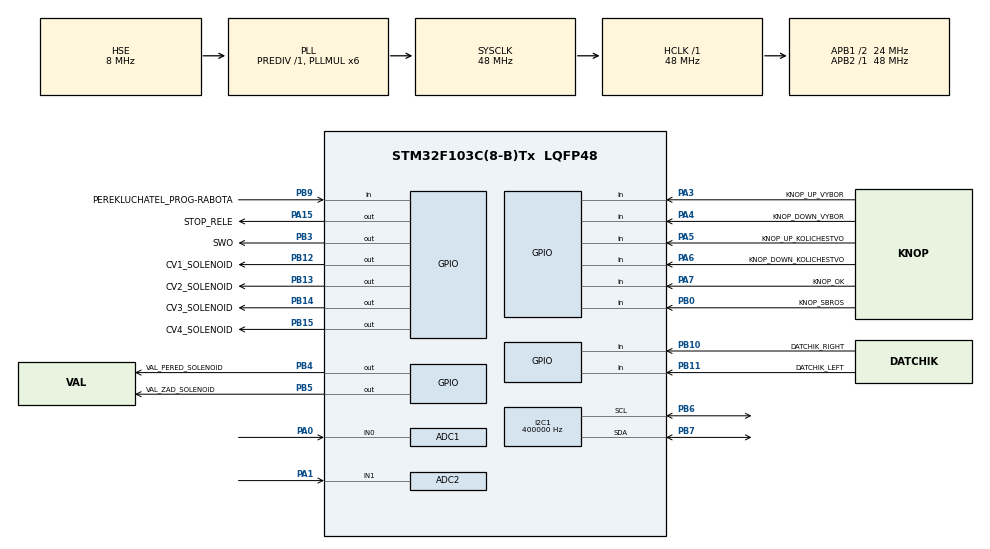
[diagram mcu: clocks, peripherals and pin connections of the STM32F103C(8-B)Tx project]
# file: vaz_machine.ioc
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ADC1.Channel-17\#ChannelRegularConversion=ADC_CHANNEL_0
ADC1.NbrOfConversionFlag=1
ADC1.Rank-17\#ChannelRegularConversion=1
ADC1.SamplingTime-17\#ChannelRegularConversion=ADC_SAMPLETIME_1CYCLE_5
ADC1.master=1
ADC2.Channel-0\#ChannelRegularConversion=ADC_CHANNEL_1
ADC2.ContinuousConvMode=DISABLE
ADC2.DataAlign=ADC_DATAALIGN_RIGHT
ADC2.DiscontinuousConvMode=DISABLE
ADC2.EnableAnalogWatchDog=false
ADC2.EnableRegularConversion=ENABLE
ADC2.ExternalTrigConvEdgeChoice=NONE
ADC2.InjNumberOfConversion=0
ADC2.NbrOfConversion=1
ADC2.NbrOfConversionFlag=1
ADC2.Rank-0\#ChannelRegularConversion=1
ADC2.SamplingTime-0\#ChannelRegularConversion=ADC_SAMPLETIME_1CYCLE_5
ADC2.ScanConvMode=ADC_SCAN_DISABLE
Dma.I2C1_TX.0.Direction=DMA_MEMORY_TO_PERIPH
Dma.I2C1_TX.0.Instance=DMA1_Channel6
Dma.I2C1_TX.0.MemDataAlignment=DMA_MDATAALIGN_BYTE
Dma.I2C1_TX.0.MemInc=DMA_MINC_ENABLE
Dma.I2C1_TX.0.Mode=DMA_NORMAL
Dma.I2C1_TX.0.PeriphDataAlignment=DMA_PDATAALIGN_BYTE
Dma.I2C1_TX.0.PeriphInc=DMA_PINC_DISABLE
Dma.I2C1_TX.0.Priority=DMA_PRIORITY_HIGH
Dma.Request0=I2C1_TX
I2C1.ClockSpeed=400000
I2C1.DutyCycle=I2C_DUTYCYCLE_16_9
I2C1.I2C_Mode=I2C_Fast
I2C1.OwnAddress=0x78
Mcu.Family=STM32F1
Mcu.Name=STM32F103C(8-B)Tx
Mcu.Package=LQFP48
NVIC.DMA1_Channel6_IRQn=true\:0\:0\:false\:false\:true
NVIC.PriorityGroup=NVIC_PRIORITYGROUP_4
PA0-WKUP.Signal=ADCx_IN0
PA1.Signal=ADCx_IN1
PA13.Mode=Serial_Wire
PA13.Signal=SYS_JTMS-SWDIO
PA14.Mode=Serial_Wire
PA14.Signal=SYS_JTCK-SWCLK
PA15.GPIO_Label=STOP_RELE
PA15.Signal=GPIO_Output
PA3.GPIO_Label=KNOP_UP_VYBOR
PA3.GPIO_PuPd=GPIO_PULLDOWN
PA3.Signal=GPIO_Input
PA4.GPIO_Label=KNOP_DOWN_VYBOR
PA4.GPIO_PuPd=GPIO_PULLDOWN
PA4.Signal=GPIO_Input
PA5.GPIO_Label=KNOP_UP_KOLICHESTVO
PA5.GPIO_PuPd=GPIO_PULLDOWN
PA5.Signal=GPIO_Input
PA6.GPIO_Label=KNOP_DOWN_KOLICHESTVO
PA6.GPIO_PuPd=GPIO_PULLDOWN
PA6.Signal=GPIO_Input
PA7.GPIO_Label=KNOP_OK
PA7.GPIO_PuPd=GPIO_PULLDOWN
PA7.Signal=GPIO_Input
PB0.GPIO_Label=KNOP_SBROS
PB0.GPIO_PuPd=GPIO_PULLUP
PB0.Signal=GPIO_Input
PB10.GPIO_Label=DATCHIK_RIGHT
PB10.GPIO_PuPd=GPIO_PULLUP
PB10.Signal=GPIO_Input
PB11.GPIO_Label=DATCHIK_LEFT
PB11.GPIO_PuPd=GPIO_PULLUP
PB11.Signal=GPIO_Input
PB12.GPIO_Label=CV1_SOLENOID
PB12.Signal=GPIO_Output
PB13.GPIO_Label=CV2_SOLENOID
PB13.Signal=GPIO_Output
PB14.GPIO_Label=CV3_SOLENOID
PB14.Signal=GPIO_Output
PB15.GPIO_Label=CV4_SOLENOID
PB15.Signal=GPIO_Output
PB3.GPIO_Label=SWO
PB3.Signal=GPIO_Output
PB4.GPIO_Label=VAL_PERED_SOLENOID
PB4.Signal=GPIO_Output
PB5.GPIO_Label=VAL_ZAD_SOLENOID
PB5.Signal=GPIO_Output
PB6.Mode=I2C
PB6.Signal=I2C1_SCL
PB7.Mode=I2C
PB7.Signal=I2C1_SDA
PB9.GPIO_Label=PEREKLUCHATEL_PROG-RABOTA
PB9.GPIO_PuPd=GPIO_PULLUP
PB9.Signal=GPIO_Input
PC14-OSC32_IN.Mode=LSE-External-Oscillator
PC14-OSC32_IN.Signal=RCC_OSC32_IN
PC15-OSC32_OUT.Mode=LSE-External-Oscillator
PC15-OSC32_OUT.Signal=RCC_OSC32_OUT
PD0-OSC_IN.Mode=HSE-External-Oscillator
PD0-OSC_IN.Signal=RCC_OSC_IN
PD1-OSC_OUT.Mode=HSE-External-Oscillator
PD1-OSC_OUT.Signal=RCC_OSC_OUT
ProjectManager.HeapSize=0x200
ProjectManager.StackSize=0x400
ProjectManager.TargetToolchain=MDK-ARM V5
RCC.ADCPresc=RCC_ADCPCLK2_DIV4
RCC.AHBFreq_Value=48000000
RCC.APB1CLKDivider=RCC_HCLK_DIV2
RCC.APB1Freq_Value=24000000
RCC.APB1TimFreq_Value=48000000
RCC.APB2Freq_Value=48000000
RCC.APB2TimFreq_Value=48000000
RCC.HCLKFreq_Value=48000000
RCC.HSIState=RCC_HSI_ON
RCC.PLLMUL=RCC_PLL_MUL6
RCC.PLLSourceVirtual=RCC_PLLSOURCE_HSE
RCC.SYSCLKFreq_VALUE=48000000
RCC.SYSCLKSource=RCC_SYSCLKSOURCE_PLLCLK
RCC.USBFreq_Value=48000000
SH.ADCx_IN0.0=ADC1_IN0,IN0
SH.ADCx_IN1.0=ADC2_IN1,IN1
board=vaz_machine

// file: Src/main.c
/**
  ******************************************************************************
  * File Name          : main.c
  * Description        : Main program body
  ******************************************************************************
  *
  * COPYRIGHT(c) 2016 STMicroelectronics
  *
  * Redistribution and use in source and binary forms, with or without modification,
  * are permitted provided that the following conditions are met:
  *   1. Redistributions of source code must retain the above copyright notice,
  *      this list of conditions and the following disclaimer.
  *   2. Redistributions in binary form must reproduce the above copyright notice,
  *      this list of conditions and the following disclaimer in the documentation
  *      and/or other materials provided with the distribution.
  *   3. Neither the name of STMicroelectronics nor the names of its contributors
  *      may be used to endorse or promote products derived from this software
  *      without specific prior written permission.
  *
  * THIS SOFTWARE IS PROVIDED BY THE COPYRIGHT HOLDERS AND CONTRIBUTORS "AS IS"
  * AND ANY EXPRESS OR IMPLIED WARRANTIES, INCLUDING, BUT NOT LIMITED TO, THE
  * IMPLIED WARRANTIES OF MERCHANTABILITY AND FITNESS FOR A PARTICULAR PURPOSE ARE
  * DISCLAIMED. IN NO EVENT SHALL THE COPYRIGHT HOLDER OR CONTRIBUTORS BE LIABLE
  * FOR ANY DIRECT, INDIRECT, INCIDENTAL, SPECIAL, EXEMPLARY, OR CONSEQUENTIAL
  * DAMAGES (INCLUDING, BUT NOT LIMITED TO, PROCUREMENT OF SUBSTITUTE GOODS OR
  * SERVICES; LOSS OF USE, DATA, OR PROFITS; OR BUSINESS INTERRUPTION) HOWEVER
  * CAUSED AND ON ANY THEORY OF LIABILITY, WHETHER IN CONTRACT, STRICT LIABILITY,
  * OR TORT (INCLUDING NEGLIGENCE OR OTHERWISE) ARISING IN ANY WAY OUT OF THE USE
  * OF THIS SOFTWARE, EVEN IF ADVISED OF THE POSSIBILITY OF SUCH DAMAGE.
  *
  ******************************************************************************
  */
#include "stm32f1xx_hal.h"
#include "adc.h"
#include "dma.h"
#include "i2c.h"
#include "gpio.h"

/* USER CODE BEGIN Includes */
//#include "ssd1306.h"
//#include "fonts.h"
#include "fsm.h"
/* USER CODE END Includes */

/* USER CODE BEGIN PV */
/* Private variables ---------------------------------------------------------*/
extern	SSD1306_t SSD1306;
volatile	uint32_t	key_scan,key_scan_1,key_scan_2,key_counter,key_fast=2000, key_delay = 300, key_press=0;

/* USER CODE END PV */

void SystemClock_Config(void);
void Error_Handler(void);

/* USER CODE BEGIN PFP */
/* Private function prototypes -----------------------------------------------*/

void HAL_SYSTICK_Callback(void)
{
//	key_counter++;
HAL_GPIO_TogglePin(GPIOB, GPIO_PIN_5);
	key_scan_1 = (GPIOA->IDR & 0xF8);
	key_scan_2 = (key_scan_1 >> 3);

	if (key_scan_2 == 0)
	{
		key_delay = 300;
		key_counter = 0;
		key_press = 0;
	}

	if((key_scan_2 != 0) && (key_scan == 0))
	{
		key_counter++;
		key_press++;
		if((key_counter >= key_delay) && (key_press < key_fast))
		{
			key_scan = key_scan_2;
			key_counter = 0;
		}
		if(key_press > key_fast)
		{
			key_delay = 50;
			key_scan = key_scan_2;
			key_counter = 0;
			key_press = 0;
		}
	}
	else
	{
		key_counter = 0;
	}
}
/* USER CODE END PFP */

/* USER CODE BEGIN 0 */

//мои переменные
int elem_prog=1; // выбор элемента для программирования (всего 8 элементов от 1 до 8)
int kol_elem_prog=0; // показатель конкретного элемента для програмирования
int oborot = 0; // переменная, которая считает количесво оборотов
int next_oborot=1;//переменная которая определяем номер следующего оборота
int a_i=0; //- переменная счетчик для проверки записанного элемента массива
int mega = 0;// переменная, которая считает количество мегациклов(один мегацикл - это полностью программа), ведется обратный отсчет, при 0 вызывается функция стоп
int prev_side = 0; // переменная, которая указывает датчик какой стороны сработал прошлый раз, нужна для того, чтобы избежать ошибок при срабатывании дважды подряд датчика с одной стороны
uint16_t prog_oborot = 123;//переменная для программирования количества оборотов в мегацикле
uint16_t cv_1[20]={1,2,3,4,5,6,0,0,0,0,0,0,0,0,0,0,0,0,0,0};//массив включений первого цвета
uint16_t cv_2[20]={2,0,0,0,0,0,0,0,0,0,0,0,0,0,0,0,0,0,0,0};//массив включений второго цвета
uint16_t cv_3[20]={3,0,0,0,0,0,0,0,0,0,0,0,0,0,0,0,0,0,0,0};//массив включений третьего цвета
uint16_t cv_4[20]={4,0,0,0,0,0,0,0,0,0,0,0,0,0,0,0,0,0,0,0};//массив включений четвертого цвета
uint16_t pered_val[20]={5,0,0,0,0,0,0,0,0,0,0,0,0,0,0,0,0,0,0,0};//массив включений переднего валика
uint16_t zad_val[20]={6,0,0,0,0,0,0,0,0,0,0,0,0,0,0,0,0,0,0,0};//массив включений заднего валика
uint16_t stop_mass[20]={7,0,0,0,0,0,0,0,0,0,0,0,0,0,0,0,0,0,0,0};//массив остановок

//мои дефайны для управления соленоидами (включение/выключение пинов)
#define CV1_DEF_ON HAL_GPIO_WritePin(GPIOB, CV1_SOLENOID_Pin, GPIO_PIN_SET); // !!!нужно записать конкретный порт и вывод!!!
#define CV1_DEF_OFF HAL_GPIO_WritePin(GPIOB, CV1_SOLENOID_Pin, GPIO_PIN_RESET); // !!!нужно записать конкретный порт и вывод!!!

#define CV2_DEF_ON HAL_GPIO_WritePin(GPIOB, CV2_SOLENOID_Pin, GPIO_PIN_SET); // !!!нужно записать конкретный порт и вывод!!!
#define CV2_DEF_OFF HAL_GPIO_WritePin(GPIOB, CV2_SOLENOID_Pin, GPIO_PIN_RESET); // !!!нужно записать конкретный порт и вывод!!!

#define CV3_DEF_ON HAL_GPIO_WritePin(GPIOB, CV3_SOLENOID_Pin, GPIO_PIN_SET); // !!!нужно записать конкретный порт и вывод!!!
#define CV3_DEF_OFF HAL_GPIO_WritePin(GPIOB, CV3_SOLENOID_Pin, GPIO_PIN_RESET); // !!!нужно записать конкретный порт и вывод!!!

#define CV4_DEF_ON HAL_GPIO_WritePin(GPIOB, CV4_SOLENOID_Pin, GPIO_PIN_SET); // !!!нужно записать конкретный порт и вывод!!!
#define CV4_DEF_OFF HAL_GPIO_WritePin(GPIOB, CV4_SOLENOID_Pin, GPIO_PIN_RESET); // !!!нужно записать конкретный порт и вывод!!!

#define PERED_VAL_DEF_ON HAL_GPIO_WritePin(GPIOA, VAL_PERED_SOLENOID_Pin, GPIO_PIN_SET); // !!!нужно записать конкретный порт и вывод!!!
#define PERED_VAL_DEF_OFF HAL_GPIO_WritePin(GPIOA, VAL_PERED_SOLENOID_Pin, GPIO_PIN_RESET); // !!!нужно записать конкретный порт и вывод!!!

#define ZAD_VAL_DEF_ON HAL_GPIO_WritePin(GPIOA, VAL_ZAD_SOLENOID_Pin, GPIO_PIN_SET); // !!!нужно записать конкретный порт и вывод!!!
#define ZAD_VAL_DEF_OFF HAL_GPIO_WritePin(GPIOA, VAL_ZAD_SOLENOID_Pin, GPIO_PIN_RESET); // !!!нужно записать конкретный порт и вывод!!!

//мои функции тут

void stop_fun(void){//функция остановки
	HAL_GPIO_WritePin(GPIOA,STOP_RELE_Pin, GPIO_PIN_SET);// высокий потенциал на включение реле "в разрыв" линии стоп
	HAL_Delay(200); //0,2 секунды для срабатывания стопа, если мало, то добавить
	HAL_GPIO_WritePin(GPIOA,STOP_RELE_Pin, GPIO_PIN_RESET);//выключаем реле
	//можно добавить еще надпись на экран
}

void left_side(void){//функция срабатывания датчика левой стороны
	// с левой стороны должны включаться и выключаться соленоиды управления цветниками
	if (prev_side<2){//если перед этим не срабатывала правая сторона (2) или это начало цикла(0), а предыдущая сторона была левая (1)
		return;		//то выходим и ничего не делаем
	}
	prev_side=1;//отмечаем, что предудущая сторона была левая
	if (oborot<prog_oborot){//если количество оборотов меньше чем запрограммированный размер мегацикла
		next_oborot= oborot+1; //то следующий оборот будет текущий оборот+1
	}
	else {// если текущий оборот равет количеству запрограммированных оборотов
		next_oborot= 1; //то следующий оборот будет 1
	}
	//***************** сначала выключаем все соленоиды цветников
	CV1_DEF_OFF;// дефайн выключения первого цветника
	CV2_DEF_OFF;// дефайн выключения второго цветника
	CV3_DEF_OFF;// дефайн выключения третьего цветника
	CV4_DEF_OFF;// дефайн выключения четвертого цветника

	//теперь проверяем если следующий оборот (next_oborot) содержит переключение цветов, то включаем солениод соответствующего цвета
	a_i=0;//сбрасываем счетчик элементов массива
	for (a_i=0; a_i<20; a_i++){
		if(cv_1[a_i]==next_oborot){//если значение текущего элемента массива равно следующему оборону
			CV1_DEF_ON;	//то включаем первый цвет
		}
		if(cv_2[a_i]==next_oborot){//если значение текущего элемента массива равно следующему оборону
			CV2_DEF_ON;	//то включаем второй цвет
		}
		if(cv_3[a_i]==next_oborot){//если значение текущего элемента массива равно следующему оборону
			CV3_DEF_ON;	//то включаем третий цвет
		}
		if(cv_4[a_i]==next_oborot){//если значение текущего элемента массива равно следующему оборону
			CV4_DEF_ON;	//то включаем четвертый цвет
		}
	}
	a_i=0;//сбрасываем счетчик элементов массива
}
void right_side(void){//функция срабатывания датчика правой стороны
	// с правой стороны должны включаться и выключаться соленоиды управления клиньями, стоп, считаться циклы и мегациклы
		if (prev_side==2){//если перед этим срабатывала правая сторона
			return;		//то выходим и ничего не делаем
		}
		if (oborot==prog_oborot && next_oborot==1){//если прошлый оборот, который пока еще равен oborot, равен количеству оборотов в мегацикле, а следующий оборот уже равен 1
			mega=mega-1; // то уменьшаем значение количества мегациклов на 1
		}
		if (mega==0){ //если после этого как мы уменьшили мегу она равно 0 - то вызываем функцию стоп и выходим из функции
		stop_fun();
		return;//выходим и ничего не делаем дальше
		}
		prev_side=2;//отмечаем, что предудущая сторона была левая, только после того как проверили мегу
		oborot=next_oborot; // устанавливаем текуший оборот, если это старт, то next_oborot будет 1
		//***************** сначала выключаем все соленоиды управления клиньями
		PERED_VAL_DEF_OFF;// дефайн выключения соленоида переднего валика
		ZAD_VAL_DEF_OFF;// дефайн выключения соленоида заднего валика
		//теперь проверяем если текущий оборот (oborot) содержит валики, то включаем солениод соответствующего валика
		//а также, если текущий оборот содержит стоп, то вызываем функцию стоп
		a_i=0;//сбрасываем счетчик элементов массива
		for (a_i=0; a_i<20; a_i++){
			if(pered_val[a_i]==oborot){//если значение текущего элемента массива равно текущему оборону
				PERED_VAL_DEF_ON;	//то включаем передний валик
			}
			if(zad_val[a_i]==oborot){//если значение текущего элемента массива равно текущему оборону
				ZAD_VAL_DEF_ON;	//то включаем задний валик
			}
			if(stop_mass[a_i]==oborot){//если значение текущего элемента массива равно текущему оборону
				stop_fun();	//то вызываем функцию стоп
			}
		}
		a_i=0;//сбрасываем счетчик элементов массива
}

void sbros(void){//функция нажатия кнопки сброс в положении программирования
	elem_prog=1; // выбор элемента для программирования (всего 8 элементов от 1 до 8)
	kol_elem_prog=0; // показатель конкретного элемента для програмирования
	oborot = 0; // переменная, которая считает количесво оборотов
	mega = 0;// переменная, которая считает количество мегациклов(один мегацикл - это полностью программа), ведется обратный отсчет, при 0 вызывается функция стоп
	prev_side = 0; // переменная, которая указывает датчик какой стороны сработал прошлый раз, нужна для того, чтобы избежать ошибок при срабатывании дважды подряд датчика с одной стороны
	prog_oborot = 0;//переменная - запрограммированное количество оборотов
	next_oborot = 1;//переменная - следующий оборот
	int sbros_i=0;
	for (sbros_i=0; sbros_i<20; sbros_i++){
		   cv_1[sbros_i]=0;
		   cv_2[sbros_i]=0;
		   cv_3[sbros_i]=0;
		   cv_4[sbros_i]=0;
		   pered_val[sbros_i]=0;
		   zad_val[sbros_i]=0;
		   stop_mass[sbros_i]=0;
	}
}

void ok_prog_fun(void){//функция нажатия кнопки ок  в режиме программирования
	if (elem_prog==1){//1 - это общее количество циклов в мегацикле
		if (kol_elem_prog>0){// только если количество оборотов в цикле больше 0
			prog_oborot=kol_elem_prog;//устанавливаем общее количество оборотов в мегацикле
			kol_elem_prog=0;//обнуляем счетчик количества элементов
		}
	}
	else if(elem_prog==2){//2- для цветника№1
		if (kol_elem_prog>0){
			a_i=0; //- переменная счетчик для проверки записанного элемента массива
			while (cv_1[a_i]>0){//как только элемент массива равен 0 - останавливаем цикл и на этот элемент массива записываем
				a_i++;
			}
			cv_1[a_i]=kol_elem_prog;
			kol_elem_prog=0;//обнуляем счетчик количества элементов
			a_i=0;// обнуляем счетчик проверки записанного элемента массива
		}
	}
	else if(elem_prog==3){//3- для цветника№2
		if (kol_elem_prog>0){
			a_i=0; //- переменная счетчик для проверки записанного элемента массива
			while (cv_2[a_i]>0){//как только элемент массива равен 0 - останавливаем цикл и на этот элемент массива записываем
				a_i++;
			}
			cv_2[a_i]=kol_elem_prog;
			kol_elem_prog=0;//обнуляем счетчик количества элементов
			a_i=0;// обнуляем счетчик проверки записанного элемента массива
		}
	}
	else if(elem_prog==4){//4- для цветника№3
		if (kol_elem_prog>0){
			a_i=0; //- переменная счетчик для проверки записанного элемента массива
			while (cv_3[a_i]>0){//как только элемент массива равен 0 - останавливаем цикл и на этот элемент массива записываем
				a_i++;
			}
			cv_3[a_i]=kol_elem_prog;
			kol_elem_prog=0;//обнуляем счетчик количества элементов
			a_i=0;// обнуляем счетчик проверки записанного элемента массива
		}
	}
	else if(elem_prog==5){//5- для цветника№4
		if (kol_elem_prog>0){
			a_i=0; //- переменная счетчик для проверки записанного элемента массива
			while (cv_4[a_i]>0){//как только элемент массива равен 0 - останавливаем цикл и на этот элемент массива записываем
				a_i++;
			}
			cv_4[a_i]=kol_elem_prog;
			kol_elem_prog=0;//обнуляем счетчик количества элементов
			a_i=0;// обнуляем счетчик проверки записанного элемента массива
		}
	}
	else if(elem_prog==6){//6- для переднего валика
		if (kol_elem_prog>0){
			a_i=0; //- переменная счетчик для проверки записанного элемента массива
			while (pered_val[a_i]>0){//как только элемент массива равен 0 - останавливаем цикл и на этот элемент массива записываем
				a_i++;
			}
			pered_val[a_i]=kol_elem_prog;
			kol_elem_prog=0;//обнуляем счетчик количества элементов
			a_i=0;// обнуляем счетчик проверки записанного элемента массива
		}
	}
	else if(elem_prog==7){//7- для заднего валика
		if (kol_elem_prog>0){
			a_i=0; //- переменная счетчик для проверки записанного элемента массива
			while (zad_val[a_i]>0){//как только элемент массива равен 0 - останавливаем цикл и на этот элемент массива записываем
				a_i++;
			}
			zad_val[a_i]=kol_elem_prog;
			kol_elem_prog=0;//обнуляем счетчик количества элементов
			a_i=0;// обнуляем счетчик проверки записанного элемента массива
		}
	}
	else if(elem_prog==8){//8- для остановки
		if (kol_elem_prog>0){
			a_i=0; //- переменная счетчик для проверки записанного элемента массива
			while (stop_mass[a_i]>0){//как только элемент массива равен 0 - останавливаем цикл и на этот элемент массива записываем
				a_i++;
			}
			stop_mass[a_i]=kol_elem_prog;
			kol_elem_prog=0;//обнуляем счетчик количества элементов
			a_i=0;// обнуляем счетчик проверки записанного элемента массива
		}
	}

}

/* USER CODE END 0 */

int main(void)
{

  /* MCU Configuration----------------------------------------------------------*/

  /* Reset of all peripherals, Initializes the Flash interface and the Systick. */
  HAL_Init();

  /* Configure the system clock */
  SystemClock_Config();

  /* Initialize all configured peripherals */
  MX_GPIO_Init();
  MX_DMA_Init();
  MX_ADC1_Init();
  MX_ADC2_Init();
  MX_I2C1_Init();

  /* USER CODE BEGIN 2 */

  ssd1306_Init();
  HAL_Delay(100);
  ssd1306_Fill(White);
//  ssd1306_UpdateScreen();

  HAL_Delay(100);
  ssd1306_SetCursor(1,3);
  ssd1306_WriteString("012345678901234567",Font_7x10,Black, Inversion);
  ssd1306_UpdateScreen();
  HAL_Delay(100);
  ssd1306_SetCursor(1,13);
  ssd1306_WriteString("012345678901234567",Font_7x10,Black, NoInversion);
  ssd1306_UpdateScreen();

  ssd1306_UpdateScreen();

	HAL_Delay(100);

  ssd1306_Fill(White);
//  ssd1306_UpdateScreen();

  ssd1306_SetCursor(1,20);
  ssd1306_WriteString("АБВГДЕЖЗ",Font_11x18,Black, NoInversion);
  ssd1306_UpdateScreen();
	HAL_Delay(100);
	FSM_Init ();
//  ssd1306_UpdateScreen();
  /* USER CODE END 2 */

  /* Infinite loop */
  /* USER CODE BEGIN WHILE */
  while (1)
  {
		if(key_scan != 0)
		{
			switch(key_scan)
			{
				case 1:
					FSM_press_down();
				break;

				case 2:
					FSM_press_up();
				break;

				case 4:
					FSM_press_rigth();
				break;

				case 8:
					FSM_press_left();
				break;

				case 0x10:
					FSM_press_ok();
				break;

				default:
					break;
		}
		HAL_GPIO_TogglePin(GPIOA, GPIO_PIN_15);
		key_scan = 0;
//		__enable_irq();
	}
  /* USER CODE END WHILE */

  /* USER CODE BEGIN 3 */
/*
if (HAL_GPIO_ReadPin(GPIOB, KNOP_DOWN_VYBOR_Pin))
	{

	}

	  	  if (HAL_GPIO_ReadPin(GPIOB, PEREKLUCHATEL_PROG_RABOTA_Pin)){// если нажат переключатель в положение программирование - то выполняется все что должно быть для программирования + нажата кнопка стоп
	  		  ///код для программирования тут
	  		  if(HAL_GPIO_ReadPin(GPIOB, KNOP_SBROS_Pin)){// нажатие на кнопку сброс
	  			sbros();//запуск функции нажатия на кропку сброс
	  					//тут должны также обнуляться все массивы
	  		  }
	  		  //здесь еще добавить управление энкодерами:
	  		  // 1-й энкодер - выбор элемента для изменения и записи (от 1 до 8)
	  		  // если энкодер меньше 1, то устанавливаем все равно 1
	  		  // если энкодер больше 8, то устанавливаем все равно 8
	  		  // при каждом движении энкодера обнуляется показатель kol_elem_prog
	  		  // 2-й энкодер - изменение конкретного показателя
	  		  // если энкодер меньше 0, то устанавливаем все равно 0
	  		  // если prog_oborot больше 0 и энкодер больше prog_oborot, то устанавливаем количество равное prog_oborot

	  		  //вывод на экран 8 показателей, тот который сейчас активен - подсвечивается
	  		  // отдельно вывод значения kol_elem_prog
	  		  // за название  показателя ":" и вывод значения
	  		  // там где массивы - вывод значений через зяпятую (последних трех значений и общее количество)
	  	  }

	  	  if (!HAL_GPIO_ReadPin(GPIOB, PEREKLUCHATEL_PROG_RABOTA_Pin)){//если нажат переключатель в положение основная программа - то выполняется все что должно быть для основной программы
	  		  ///код для основной программы тут
	  		  if(HAL_GPIO_ReadPin(GPIOB, DATCHIK_LEFT_Pin)){// срабатывание датчика левой стороны
	  			left_side();//запуск функции левой стороны
	  		  }
	  		  if(HAL_GPIO_ReadPin(GPIOB, DATCHIK_RIGHT_Pin)){// срабатывание датчика левой стороны
	  			right_side();//запуск функции правой стороны
	  		  }

	  		  //здесь еще добавить управление энкодерами:
	  		  // 1-й энкодер - изменение количества мегациклов
	  		  // изменяется только если prog_oborot>0
	  		  // если мешьне 0 - то устанавливаем 0

	  		  // 2-й энкодер - изменение next_oborot
	  		  // изменяется только если prog_oborot>0
	  		  // если энкодер = 0, то устанавливаем значение prog_oborot
	  		  // если значение энкодера больше prog_oborot, то устанавливаем 1

	  		  //вывод на экран:
	  		   	  //-количество мегациклов
	  		   	  //-текущий цикл
	  		   	  //-циклов в мегацикле
	  		   	  //-направление движения каретки
	  		   	  //-срабатывание функции стоп
	  		  //
	  	  }
*/
  }

  /* USER CODE END 3 */

}

/** System Clock Configuration
*/
void SystemClock_Config(void)
{

  RCC_OscInitTypeDef RCC_OscInitStruct;
  RCC_ClkInitTypeDef RCC_ClkInitStruct;
  RCC_PeriphCLKInitTypeDef PeriphClkInit;

  RCC_OscInitStruct.OscillatorType = RCC_OSCILLATORTYPE_HSE;
  RCC_OscInitStruct.HSEState = RCC_HSE_ON;
  RCC_OscInitStruct.HSEPredivValue = RCC_HSE_PREDIV_DIV1;
  RCC_OscInitStruct.PLL.PLLState = RCC_PLL_ON;
  RCC_OscInitStruct.PLL.PLLSource = RCC_PLLSOURCE_HSE;
  RCC_OscInitStruct.PLL.PLLMUL = RCC_PLL_MUL6;
  if (HAL_RCC_OscConfig(&RCC_OscInitStruct) != HAL_OK)
  {
    Error_Handler();
  }

  RCC_ClkInitStruct.ClockType = RCC_CLOCKTYPE_HCLK|RCC_CLOCKTYPE_SYSCLK
                              |RCC_CLOCKTYPE_PCLK1|RCC_CLOCKTYPE_PCLK2;
  RCC_ClkInitStruct.SYSCLKSource = RCC_SYSCLKSOURCE_PLLCLK;
  RCC_ClkInitStruct.AHBCLKDivider = RCC_SYSCLK_DIV1;
  RCC_ClkInitStruct.APB1CLKDivider = RCC_HCLK_DIV2;
  RCC_ClkInitStruct.APB2CLKDivider = RCC_HCLK_DIV1;
  if (HAL_RCC_ClockConfig(&RCC_ClkInitStruct, FLASH_LATENCY_1) != HAL_OK)
  {
    Error_Handler();
  }

  PeriphClkInit.PeriphClockSelection = RCC_PERIPHCLK_ADC;
  PeriphClkInit.AdcClockSelection = RCC_ADCPCLK2_DIV4;
  if (HAL_RCCEx_PeriphCLKConfig(&PeriphClkInit) != HAL_OK)
  {
    Error_Handler();
  }

  HAL_SYSTICK_Config(HAL_RCC_GetHCLKFreq()/1000);

  HAL_SYSTICK_CLKSourceConfig(SYSTICK_CLKSOURCE_HCLK);

  /* SysTick_IRQn interrupt configuration */
  HAL_NVIC_SetPriority(SysTick_IRQn, 0, 0);
}

void Error_Handler(void)
{
  while(1)
  {
  }
}

/************************ (C) COPYRIGHT STMicroelectronics *****END OF FILE****/
